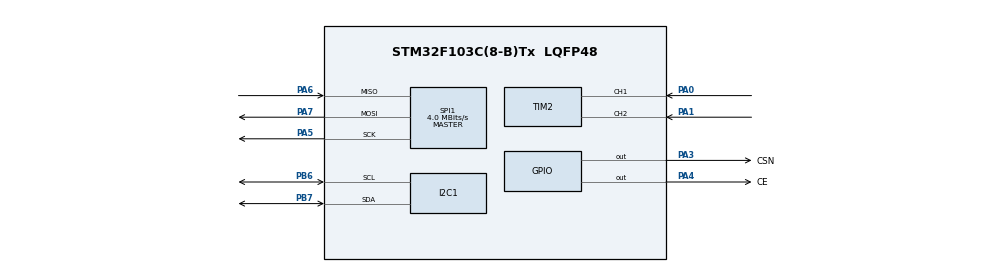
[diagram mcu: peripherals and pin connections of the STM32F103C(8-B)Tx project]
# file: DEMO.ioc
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Mcu.Family=STM32F1
Mcu.Name=STM32F103C(8-B)Tx
Mcu.Package=LQFP48
NVIC.PriorityGroup=NVIC_PRIORITYGROUP_4
PA0-WKUP.GPIO_PuPd=GPIO_PULLUP
PA0-WKUP.Signal=S_TIM2_CH1_ETR
PA1.GPIO_PuPd=GPIO_PULLUP
PA1.Signal=S_TIM2_CH2
PA13.Mode=Serial_Wire
PA13.Signal=SYS_JTMS-SWDIO
PA14.Mode=Serial_Wire
PA14.Signal=SYS_JTCK-SWCLK
PA3.GPIO_Label=CSN
PA3.PinState=GPIO_PIN_SET
PA3.Signal=GPIO_Output
PA4.GPIO_Label=CE
PA4.Signal=GPIO_Output
PA5.Mode=Full_Duplex_Master
PA5.Signal=SPI1_SCK
PA6.Mode=Full_Duplex_Master
PA6.Signal=SPI1_MISO
PA7.Mode=Full_Duplex_Master
PA7.Signal=SPI1_MOSI
PB6.Mode=I2C
PB6.Signal=I2C1_SCL
PB7.Mode=I2C
PB7.Signal=I2C1_SDA
ProjectManager.HeapSize=0x200
ProjectManager.StackSize=0x400
ProjectManager.TargetToolchain=CMake
RCC.APB1Freq_Value=8000000
RCC.APB2Freq_Value=8000000
SH.S_TIM2_CH1_ETR.0=TIM2_CH1,Encoder_Interface
SH.S_TIM2_CH2.0=TIM2_CH2,Encoder_Interface
SPI1.CalculateBaudRate=4.0 MBits/s
SPI1.Direction=SPI_DIRECTION_2LINES
SPI1.Mode=SPI_MODE_MASTER
SPI1.VirtualType=VM_MASTER
TIM2.EncoderMode=TIM_ENCODERMODE_TI12
board=custom

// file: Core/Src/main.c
/* USER CODE BEGIN Header */
/**
  ******************************************************************************
  * @file           : main.c
  * @brief          : Main program body
  ******************************************************************************
  * @attention
  *
  * Copyright (c) 2026 STMicroelectronics.
  * All rights reserved.
  *
  * This software is licensed under terms that can be found in the LICENSE file
  * in the root directory of this software component.
  * If no LICENSE file comes with this software, it is provided AS-IS.
  *
  ******************************************************************************
  */
/* USER CODE END Header */
#include "main.h"

/* USER CODE BEGIN Includes */
#include "OLED.h"
#include "Encoder.h"
#include "NRF24L01.h"
/* USER CODE END Includes */

I2C_HandleTypeDef hi2c1;

SPI_HandleTypeDef hspi1;

TIM_HandleTypeDef htim2;

void SystemClock_Config(void);
static void MX_GPIO_Init(void);
static void MX_I2C1_Init(void);
static void MX_TIM2_Init(void);
static void MX_SPI1_Init(void);
/* USER CODE BEGIN PFP */
void ShowValue(uint8_t Line, uint8_t Column, int32_t value);
/* USER CODE END PFP */

int main(void)
{

  /* MCU Configuration--------------------------------------------------------*/

  /* Reset of all peripherals, Initializes the Flash interface and the Systick. */
  HAL_Init();

  /* Configure the system clock */
  SystemClock_Config();

  /* Initialize all configured peripherals */
  MX_GPIO_Init();
  MX_I2C1_Init();
  MX_TIM2_Init();
  MX_SPI1_Init();
  /* USER CODE BEGIN 2 */
  OLED_Init();
  OLED_ShowString(1, 1, "RX:");

  // OLED_ShowString(1, 1, "high:");

  // Encoder_Init();
  // int32_t value_now =Encoder_GetPosition()/4+150;
  // if(value_now<100)value_now=100;
  // if(value_now>200)value_now=200;
  // ShowValue(1,6,value_now);

  // if (NRF24L01_Check())
  //     OLED_ShowString(2, 1, "NRF OK ");
  // else
  //     OLED_ShowString(2, 1, "NRF ERR");
  // NRF24L01_Init();
  // NRF24L01_TXMode();      // 改成发送模式(发送版)

  NRF24L01_Init();
  if (NRF24L01_Check()) OLED_ShowString(2,1,"NRF OK ");
  else                  OLED_ShowString(2,1,"NRF ERR");
  NRF24L01_RXMode();        // 这块是接收端

  /* USER CODE END 2 */

  /* Infinite loop */
  while (1)
  {

    /* USER CODE BEGIN 3 */
    uint8_t rxbuf[32];
    uint8_t len = NRF24L01_RxPacket(rxbuf);//接收端
    if (len >= 4) {
    int32_t value = (int32_t)rxbuf[0] | ((int32_t)rxbuf[1]<<8)
                  | ((int32_t)rxbuf[2]<<16) | ((int32_t)rxbuf[3]<<24);
    ShowValue(1, 6, value);
}

    // Encoder_ReadDelta();
    // int32_t value =Encoder_GetPosition()/4+150;
    // if(value<100)value=100;
    // if(value>200)value=200;
    // if(value_now!=value){ShowValue(1,6,value);value_now=value;
    //   uint8_t txbuf[32] = {0};
    //   txbuf[0] = (uint8_t)(value);
    //   txbuf[1] = (uint8_t)(value >> 8);
    //   txbuf[2] = (uint8_t)(value >> 16);
    //   txbuf[3] = (uint8_t)(value >> 24);
    //   uint8_t ok = NRF24L01_TxPacket(txbuf, 32);   // 发 32 字节
    // OLED_ShowNum(3, 1, ok, 1); };

}
/* USER CODE END 3 */
}

void SystemClock_Config(void)
{
  RCC_OscInitTypeDef RCC_OscInitStruct = {0};
  RCC_ClkInitTypeDef RCC_ClkInitStruct = {0};

  /** Initializes the RCC Oscillators according to the specified parameters
  * in the RCC_OscInitTypeDef structure.
  */
  RCC_OscInitStruct.OscillatorType = RCC_OSCILLATORTYPE_HSI;
  RCC_OscInitStruct.HSIState = RCC_HSI_ON;
  RCC_OscInitStruct.HSICalibrationValue = RCC_HSICALIBRATION_DEFAULT;
  RCC_OscInitStruct.PLL.PLLState = RCC_PLL_NONE;
  if (HAL_RCC_OscConfig(&RCC_OscInitStruct) != HAL_OK)
  {
    Error_Handler();
  }

  /** Initializes the CPU, AHB and APB buses clocks
  */
  RCC_ClkInitStruct.ClockType = RCC_CLOCKTYPE_HCLK|RCC_CLOCKTYPE_SYSCLK
                              |RCC_CLOCKTYPE_PCLK1|RCC_CLOCKTYPE_PCLK2;
  RCC_ClkInitStruct.SYSCLKSource = RCC_SYSCLKSOURCE_HSI;
  RCC_ClkInitStruct.AHBCLKDivider = RCC_SYSCLK_DIV1;
  RCC_ClkInitStruct.APB1CLKDivider = RCC_HCLK_DIV1;
  RCC_ClkInitStruct.APB2CLKDivider = RCC_HCLK_DIV1;

  if (HAL_RCC_ClockConfig(&RCC_ClkInitStruct, FLASH_LATENCY_0) != HAL_OK)
  {
    Error_Handler();
  }
}

static void MX_I2C1_Init(void)
{

  hi2c1.Instance = I2C1;
  hi2c1.Init.ClockSpeed = 100000;
  hi2c1.Init.DutyCycle = I2C_DUTYCYCLE_2;
  hi2c1.Init.OwnAddress1 = 0;
  hi2c1.Init.AddressingMode = I2C_ADDRESSINGMODE_7BIT;
  hi2c1.Init.DualAddressMode = I2C_DUALADDRESS_DISABLE;
  hi2c1.Init.OwnAddress2 = 0;
  hi2c1.Init.GeneralCallMode = I2C_GENERALCALL_DISABLE;
  hi2c1.Init.NoStretchMode = I2C_NOSTRETCH_DISABLE;
  if (HAL_I2C_Init(&hi2c1) != HAL_OK)
  {
    Error_Handler();
  }

}

static void MX_SPI1_Init(void)
{

  /* SPI1 parameter configuration*/
  hspi1.Instance = SPI1;
  hspi1.Init.Mode = SPI_MODE_MASTER;
  hspi1.Init.Direction = SPI_DIRECTION_2LINES;
  hspi1.Init.DataSize = SPI_DATASIZE_8BIT;
  hspi1.Init.CLKPolarity = SPI_POLARITY_LOW;
  hspi1.Init.CLKPhase = SPI_PHASE_1EDGE;
  hspi1.Init.NSS = SPI_NSS_SOFT;
  hspi1.Init.BaudRatePrescaler = SPI_BAUDRATEPRESCALER_2;
  hspi1.Init.FirstBit = SPI_FIRSTBIT_MSB;
  hspi1.Init.TIMode = SPI_TIMODE_DISABLE;
  hspi1.Init.CRCCalculation = SPI_CRCCALCULATION_DISABLE;
  hspi1.Init.CRCPolynomial = 10;
  if (HAL_SPI_Init(&hspi1) != HAL_OK)
  {
    Error_Handler();
  }

}

static void MX_TIM2_Init(void)
{

  TIM_Encoder_InitTypeDef sConfig = {0};
  TIM_MasterConfigTypeDef sMasterConfig = {0};

  htim2.Instance = TIM2;
  htim2.Init.Prescaler = 0;
  htim2.Init.CounterMode = TIM_COUNTERMODE_UP;
  htim2.Init.Period = 65535;
  htim2.Init.ClockDivision = TIM_CLOCKDIVISION_DIV1;
  htim2.Init.AutoReloadPreload = TIM_AUTORELOAD_PRELOAD_DISABLE;
  sConfig.EncoderMode = TIM_ENCODERMODE_TI12;
  sConfig.IC1Polarity = TIM_ICPOLARITY_RISING;
  sConfig.IC1Selection = TIM_ICSELECTION_DIRECTTI;
  sConfig.IC1Prescaler = TIM_ICPSC_DIV1;
  sConfig.IC1Filter = 0;
  sConfig.IC2Polarity = TIM_ICPOLARITY_RISING;
  sConfig.IC2Selection = TIM_ICSELECTION_DIRECTTI;
  sConfig.IC2Prescaler = TIM_ICPSC_DIV1;
  sConfig.IC2Filter = 0;
  if (HAL_TIM_Encoder_Init(&htim2, &sConfig) != HAL_OK)
  {
    Error_Handler();
  }
  sMasterConfig.MasterOutputTrigger = TIM_TRGO_RESET;
  sMasterConfig.MasterSlaveMode = TIM_MASTERSLAVEMODE_DISABLE;
  if (HAL_TIMEx_MasterConfigSynchronization(&htim2, &sMasterConfig) != HAL_OK)
  {
    Error_Handler();
  }

}

static void MX_GPIO_Init(void)
{
  GPIO_InitTypeDef GPIO_InitStruct = {0};

  /* GPIO Ports Clock Enable */
  __HAL_RCC_GPIOA_CLK_ENABLE();
  __HAL_RCC_GPIOB_CLK_ENABLE();

  /*Configure GPIO pin Output Level */
  HAL_GPIO_WritePin(CSN_GPIO_Port, CSN_Pin, GPIO_PIN_SET);

  /*Configure GPIO pin Output Level */
  HAL_GPIO_WritePin(CE_GPIO_Port, CE_Pin, GPIO_PIN_RESET);

  /*Configure GPIO pins : CSN_Pin CE_Pin */
  GPIO_InitStruct.Pin = CSN_Pin|CE_Pin;
  GPIO_InitStruct.Mode = GPIO_MODE_OUTPUT_PP;
  GPIO_InitStruct.Pull = GPIO_NOPULL;
  GPIO_InitStruct.Speed = GPIO_SPEED_FREQ_LOW;
  HAL_GPIO_Init(GPIOA, &GPIO_InitStruct);

}

/* USER CODE BEGIN 4 */
void ShowValue(uint8_t Line, uint8_t Column, int32_t value)
{
    OLED_ShowNum(Line, Column,     value / 100, 1);   // 整数部分：1 或 2
    OLED_ShowChar(Line, Column + 1, '.');              // 小数点
    OLED_ShowNum(Line, Column + 2, value % 100, 2);    // 小数两位，自动补前导 0
}
/* USER CODE END 4 */

void Error_Handler(void)
{
  __disable_irq();
  while (1)
  {
  }
}
